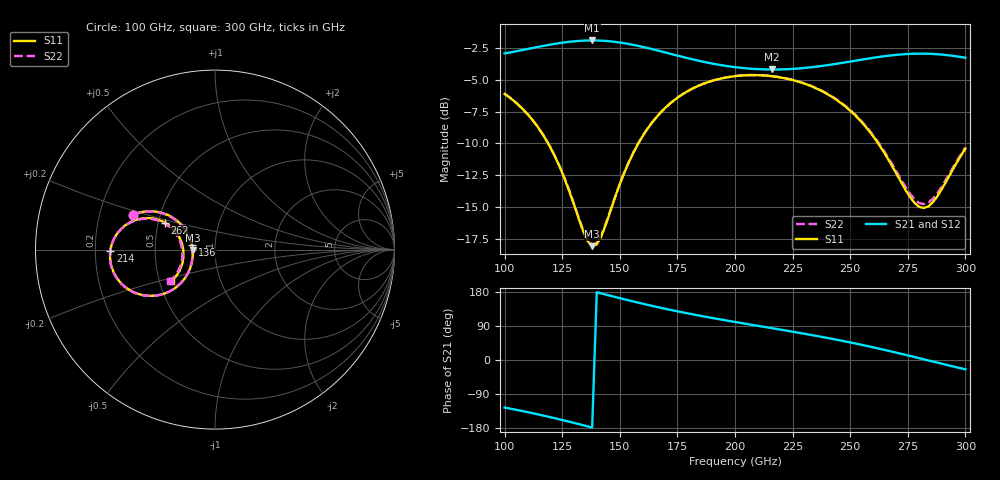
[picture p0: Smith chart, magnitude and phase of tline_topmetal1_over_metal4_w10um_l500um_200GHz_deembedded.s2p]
! Created with skrf 2.2.0 (http://scikit-rf.org).
# GHz S DB R 50.0
! Port[1] = P1
! Port[2] = P2
!freq dBS11 angS11 dBS21 angS21 dBS12 angS12 dBS22 angS22
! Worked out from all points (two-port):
!   101 points, 100 GHz to 300 GHz, reference 50 ohm
!   highest |S21| = -1.91 dB at 138 GHz (marker M1); lowest = -4.2 dB at 216 GHz (marker M2)
!   |S21| within 3 dB of the highest: start of sweep to end of sweep
!   lowest |S11| = -18.1 dB at 138 GHz (marker M3), VSWR 1.29, Z = 38.9 - j0.116 ohm
!   |S11| at or under -10 dB: 118.9 GHz to 158 GHz (39.18 GHz wide, 28.3 % of centre); 262.1 GHz to end of sweep
!   |S22| runs from -18.0 to -4.6 dB; largest |S21 - S12| = 4.6e-16
!   S11 on the Smith chart (normalised r, x): 100 GHz: 0.35, +0.18; 136 GHz: 0.77, +0.04; 214 GHz: 0.26, -0.01; 262 GHz: 0.54, +0.18; 300 GHz: 0.58, -0.22
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100  -6.11 156.8  -2.93 -125.5  -2.93 -125.5  -6.10 157.0
118  -9.72 143.8  -2.30 -148.3  -2.30 -148.3  -9.70 144.2
126  -12.75 143.7  -2.06 -159.8  -2.06 -159.8  -12.72 144.1
134  -16.85 160.0  -1.93 -172.0  -1.93 -172.0  -16.76 160.5
136  -17.67 169.3  -1.92 -175.1  -1.92 -175.1  -17.56 169.7
138  -18.08 -179.3  -1.91 -178.2  -1.91 -178.2  -17.96 -179.1
142  -17.29 -157.1  -1.93 175.6  -1.93 175.6  -17.19 -157.2
150  -13.21 -137.1  -2.07 163.2  -2.07 163.2  -13.17 -137.3
158  -10.01 -136.3  -2.34 151.3  -2.34 151.3  -9.99 -136.3
168  -7.52 -142.4  -2.78 137.4  -2.78 137.4  -7.51 -142.4
182  -5.66 -153.9  -3.41 120.1  -3.41 120.1  -5.65 -153.8
200  -4.72 -168.5  -4.01 100.4  -4.01 100.4  -4.71 -168.3
214  -4.68 -179.2  -4.19 86.0  -4.19 86.0  -4.67 -178.9
216  -4.72 179.3  -4.19 84.0  -4.19 84.0  -4.71 179.6
234  -5.58 166.1  -4.00 65.0  -4.00 65.0  -5.55 166.6
248  -7.12 156.8  -3.63 48.8  -3.63 48.8  -7.07 157.4
262  -9.96 151.7  -3.22 30.7  -3.22 30.7  -9.87 152.6
268  -11.72 153.7  -3.08 22.3  -3.08 22.3  -11.58 154.7
276  -14.23 166.1  -2.97 10.7  -2.97 10.7  -13.97 166.9
282  -15.08 -175.4  -2.95 1.8  -2.95 1.8  -14.78 -175.5
288  -14.11 -157.3  -3.00 -7.2  -3.00 -7.2  -13.88 -158.1
300  -10.41 -144.2  -3.27 -24.6  -3.27 -24.6  -10.32 -145.0
